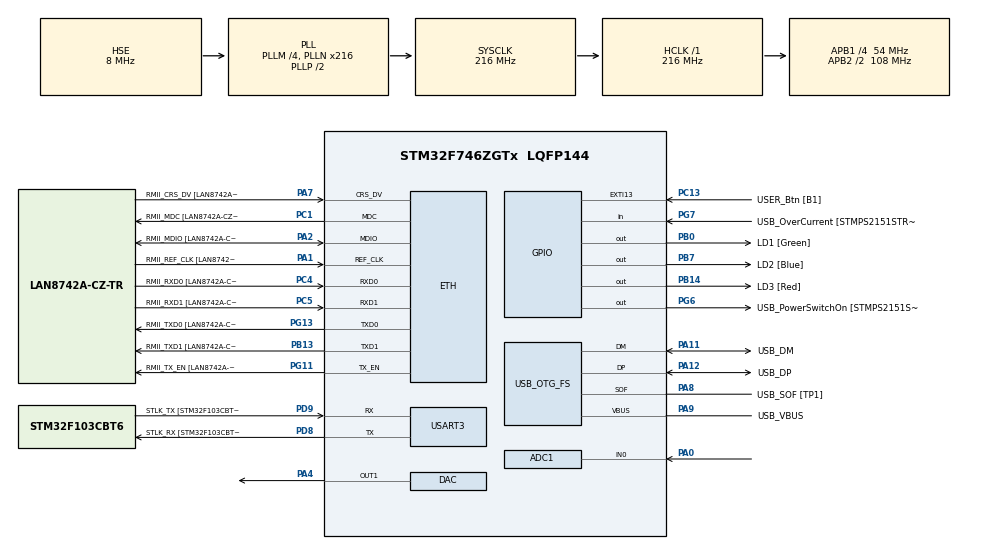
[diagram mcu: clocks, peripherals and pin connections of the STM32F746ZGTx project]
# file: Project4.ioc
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ADC1.Channel-0\#ChannelRegularConversion=ADC_CHANNEL_0
ADC1.NbrOfConversionFlag=1
ADC1.Rank-0\#ChannelRegularConversion=1
ADC1.SamplingTime-0\#ChannelRegularConversion=ADC_SAMPLETIME_3CYCLES
ADC1.master=1
ETH.MediaInterface=HAL_ETH_RMII_MODE
ETH.PHY_Name=LAN8742A_PHY_ADDRESS
ETH.PHY_Value=0
ETH.PhyAddress=0
Mcu.Family=STM32F7
Mcu.Name=STM32F746ZGTx
Mcu.Package=LQFP144
NVIC.EXTI15_10_IRQn=true\:0\:0\:false\:false\:true\:true\:true\:true
NVIC.PriorityGroup=NVIC_PRIORITYGROUP_4
NVIC.USART3_IRQn=true\:0\:0\:false\:false\:true\:true\:true\:true
PA0/WKUP.Signal=ADCx_IN0
PA1.GPIO_Label=RMII_REF_CLK [LAN8742A-CZ-TR_REFCLK0]
PA1.Mode=RMII
PA1.Signal=ETH_REF_CLK
PA10.GPIO_Label=USB_ID
PA10.Signal=USB_OTG_FS_ID
PA11.GPIO_Label=USB_DM
PA11.Mode=Device_Only
PA11.Signal=USB_OTG_FS_DM
PA12.GPIO_Label=USB_DP
PA12.Mode=Device_Only
PA12.Signal=USB_OTG_FS_DP
PA13.GPIO_Label=TMS
PA13.Mode=Serial_Wire
PA13.Signal=SYS_JTMS-SWDIO
PA14.GPIO_Label=TCK
PA14.Mode=Serial_Wire
PA14.Signal=SYS_JTCK-SWCLK
PA2.GPIO_Label=RMII_MDIO [LAN8742A-CZ-TR_MDIO]
PA2.Mode=RMII
PA2.Signal=ETH_MDIO
PA4.Signal=COMP_DAC1_group
PA7.GPIO_Label=RMII_CRS_DV [LAN8742A-CZ-TR_CRS_DV]
PA7.Mode=RMII
PA7.Signal=ETH_CRS_DV
PA8.GPIO_Label=USB_SOF [TP1]
PA8.Mode=Activate_SOF_FS
PA8.Signal=USB_OTG_FS_SOF
PA9.GPIO_Label=USB_VBUS
PA9.Mode=Activate_VBUS
PA9.Signal=USB_OTG_FS_VBUS
PB0.GPIO_Label=LD1 [Green]
PB0.Signal=GPIO_Output
PB13.GPIO_Label=RMII_TXD1 [LAN8742A-CZ-TR_TXD1]
PB13.Mode=RMII
PB13.Signal=ETH_TXD1
PB14.GPIO_Label=LD3 [Red]
PB14.Signal=GPIO_Output
PB3.GPIO_Label=SW0
PB3.Signal=SYS_JTDO-SWO
PB7.GPIO_Label=LD2 [Blue]
PB7.Signal=GPIO_Output
PC1.GPIO_Label=RMII_MDC [LAN8742A-CZ-TR_MDC]
PC1.Mode=RMII
PC1.Signal=ETH_MDC
PC13.GPIO_Label=USER_Btn [B1]
PC13.Signal=GPXTI13
PC14/OSC32_IN.Mode=LSE-External-Oscillator
PC14/OSC32_IN.Signal=RCC_OSC32_IN
PC15/OSC32_OUT.Mode=LSE-External-Oscillator
PC15/OSC32_OUT.Signal=RCC_OSC32_OUT
PC4.GPIO_Label=RMII_RXD0 [LAN8742A-CZ-TR_RXD0]
PC4.Mode=RMII
PC4.Signal=ETH_RXD0
PC5.GPIO_Label=RMII_RXD1 [LAN8742A-CZ-TR_RXD1]
PC5.Mode=RMII
PC5.Signal=ETH_RXD1
PD8.GPIO_Label=STLK_RX [STM32F103CBT6_PA3]
PD8.GPIO_PuPd=GPIO_PULLUP
PD8.Mode=Asynchronous
PD8.Signal=USART3_TX
PD9.GPIO_Label=STLK_TX [STM32F103CBT6_PA2]
PD9.GPIO_PuPd=GPIO_PULLUP
PD9.Mode=Asynchronous
PD9.Signal=USART3_RX
PG11.GPIO_Label=RMII_TX_EN [LAN8742A-CZ-TR_TXEN]
PG11.Mode=RMII
PG11.Signal=ETH_TX_EN
PG13.GPIO_Label=RMII_TXD0 [LAN8742A-CZ-TR_TXD0]
PG13.Mode=RMII
PG13.Signal=ETH_TXD0
PG6.GPIO_Label=USB_PowerSwitchOn [STMPS2151STR_EN]
PG6.Signal=GPIO_Output
PG7.GPIO_Label=USB_OverCurrent [STMPS2151STR_FAULT]
PG7.Signal=GPIO_Input
PH0/OSC_IN.GPIO_Label=MCO [STM32F103CBT6_PA8]
PH0/OSC_IN.Mode=HSE-External-Clock-Source
PH0/OSC_IN.Signal=RCC_OSC_IN
PH1/OSC_OUT.Mode=HSE-External-Clock-Source
PH1/OSC_OUT.Signal=RCC_OSC_OUT
ProjectManager.HeapSize=0x200
ProjectManager.StackSize=0x400
ProjectManager.TargetToolchain=STM32CubeIDE
RCC.48MHZClocksFreq_Value=24000000
RCC.AHBFreq_Value=216000000
RCC.APB1CLKDivider=RCC_HCLK_DIV4
RCC.APB1Freq_Value=54000000
RCC.APB1TimFreq_Value=108000000
RCC.APB2CLKDivider=RCC_HCLK_DIV2
RCC.APB2Freq_Value=108000000
RCC.APB2TimFreq_Value=216000000
RCC.CortexFreq_Value=216000000
RCC.HCLKFreq_Value=216000000
RCC.HSE_VALUE=8000000
RCC.HSI_VALUE=16000000
RCC.PLLM=4
RCC.PLLMUL=RCC_PLL_MUL9
RCC.PLLN=216
RCC.PLLQ=9
RCC.PRESCALERUSB=RCC_USBCLKSOURCE_PLL_DIV1_5
RCC.SYSCLKFreq_VALUE=216000000
RCC.SYSCLKSource=RCC_SYSCLKSOURCE_PLLCLK
RCC.SYSCLKSourceVirtual=RCC_SYSCLKSOURCE_PLLCLK
RCC.USBFreq_Value=48000000
RCC.VCOOutputFreq_Value=432000000
SH.ADCx_IN0.0=ADC1_IN0,IN0
SH.COMP_DAC1_group.0=DAC_OUT1,DAC_OUT1
USART3.VirtualMode-Asynchronous=VM_ASYNC
USB_OTG_FS.VirtualMode=Device_Only
board=NUCLEO-F746ZG

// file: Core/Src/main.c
/* USER CODE BEGIN Header */
/**
  ******************************************************************************
  * @file           : main.c
  * @brief          : Analog voltage generator and monitor on NUCLEO-F746ZG
  ******************************************************************************
  * Description:
  * This program runs on the STM32F746ZG (NUCLEO-F746ZG) development board
  * and does the following:
  *
  * ▶ CLOCK CONFIGURATION:
  * - Uses 8 MHz external oscillator (HSE) as PLL input
  * - SYSCLK is configured to 216 MHz via PLL (OverDrive enabled)
  * - APB1 clock: 54 MHz  |  APB2 clock: 108 MHz  |  USB clock: 48 MHz

  * ▶ PERIPHERAL INITIALIZATION:
  * - GPIO: Controls 3 on-board LEDs (red, blue, green) and reads user button (B1)
  * - USART3: UART communication at 115200 baud, using interrupt-based receive
  * - DAC: Outputs analog voltage on DAC channel 1 (PA4)
  * - ADC1: Samples analog voltage on channel 0 (PA0)
  * - USB_OTG_FS & Ethernet: Initialized but not used in main loop

  * ▶ PROGRAM LOGIC:
  * - Waits for UART string input (3 bytes, e.g. "1.5"), converted to float (voltage)
  * - Voltage is mapped to a 12-bit DAC value and output via DAC
  * - LED INDICATION:
  *     - Blue LED (PB7) ON during DAC update
  *     - Red LED (PB14) ON during idle
  *     - Green LED (PB0) flashes when user presses button
  * - Continuously reads analog input from ADC1
  * - Averages last 1024 readings and stores running average (`avg`)
  * - When button is pressed, transmits the averaged voltage via UART

  * ▶ INTERRUPTS:
  * - UART receive interrupt triggers on each 3-byte value
  * - External interrupt from user button (EXTI) used to transmit averaged voltage

  * ▶ NOTES:
  * - Uses non-blocking receive (`HAL_UART_Receive_IT`)
  * - DAC and ADC are polling-based
  * - Suitable for DAC testing, signal loopback, or analog control simulation
  ******************************************************************************
  */

/* USER CODE END Header */
#include "main.h"
#include "string.h"

/* USER CODE BEGIN Includes */
#include <stdlib.h>
#include "stdbool.h"
#include "stdio.h"
/* USER CODE END Includes */

#if defined ( __ICCARM__ ) /*!< IAR Compiler */
#pragma location=0x2004c000
ETH_DMADescTypeDef  DMARxDscrTab[ETH_RX_DESC_CNT]; /* Ethernet Rx DMA Descriptors */
#pragma location=0x2004c0a0
ETH_DMADescTypeDef  DMATxDscrTab[ETH_TX_DESC_CNT]; /* Ethernet Tx DMA Descriptors */

#elif defined ( __CC_ARM )  /* MDK ARM Compiler */

__attribute__((at(0x2004c000))) ETH_DMADescTypeDef  DMARxDscrTab[ETH_RX_DESC_CNT]; /* Ethernet Rx DMA Descriptors */
__attribute__((at(0x2004c0a0))) ETH_DMADescTypeDef  DMATxDscrTab[ETH_TX_DESC_CNT]; /* Ethernet Tx DMA Descriptors */

#elif defined ( __GNUC__ ) /* GNU Compiler */

ETH_DMADescTypeDef DMARxDscrTab[ETH_RX_DESC_CNT] __attribute__((section(".RxDecripSection"))); /* Ethernet Rx DMA Descriptors */
ETH_DMADescTypeDef DMATxDscrTab[ETH_TX_DESC_CNT] __attribute__((section(".TxDecripSection")));   /* Ethernet Tx DMA Descriptors */
#endif

ETH_TxPacketConfig TxConfig;

ADC_HandleTypeDef hadc1;

DAC_HandleTypeDef hdac;

ETH_HandleTypeDef heth;

UART_HandleTypeDef huart3;

PCD_HandleTypeDef hpcd_USB_OTG_FS;

void SystemClock_Config(void);
static void MX_GPIO_Init(void);
static void MX_ETH_Init(void);
static void MX_USART3_UART_Init(void);
static void MX_USB_OTG_FS_PCD_Init(void);
static void MX_ADC1_Init(void);
static void MX_DAC_Init(void);

/* USER CODE BEGIN 0 */

float value;
float avg = 0;
uint32_t var;
char tx_buff[32];
uint16_t readValue;
uint8_t rx_buff[4];
int rx_flag;
int button_flag;
float voltage;
/* USER CODE END 0 */

int main(void)
{

  /* MCU Configuration--------------------------------------------------------*/

  /* Reset of all peripherals, Initializes the Flash interface and the Systick. */
  HAL_Init();

  /* Configure the system clock */
  SystemClock_Config();

  /* Initialize all configured peripherals */
  MX_GPIO_Init();
  MX_ETH_Init();
  MX_USART3_UART_Init();
  MX_USB_OTG_FS_PCD_Init();
  MX_ADC1_Init();
  MX_DAC_Init();
  /* USER CODE BEGIN 2 */
HAL_DAC_Start(&hdac, DAC_CHANNEL_1);

 float tot = 0;
 short i = 0;
 float tot_arr[1024];
 static bool buffer_full = false;

   HAL_UART_Receive_IT(&huart3, rx_buff, 3);
  /* USER CODE END 2 */

  /* Infinite loop */
  while (1)
  {

    /* USER CODE BEGIN 3 */

	  /*Wait for Receive Interrupt*/
if(rx_flag){
	  var = 4095.0f - (value / 3.3f) * 4095.0f;
	 			  HAL_GPIO_WritePin(GPIOB, GPIO_PIN_14, GPIO_PIN_RESET);//red OFF
	 			  HAL_GPIO_WritePin(GPIOB, GPIO_PIN_7, GPIO_PIN_SET); //blue ON
	 			  HAL_DAC_SetValue(&hdac, DAC_CHANNEL_1,DAC_ALIGN_12B_R,var);
	 		      HAL_Delay(100);

	 		      HAL_GPIO_WritePin(GPIOB, GPIO_PIN_14, GPIO_PIN_SET);//red ON
	 		      HAL_GPIO_WritePin(GPIOB, GPIO_PIN_7, GPIO_PIN_RESET); //blue OFF
	 		      rx_flag=0;
					}

/*Take VOLTAGE*/
	 		  	HAL_ADC_Start(&hadc1);
	 		  	HAL_ADC_PollForConversion(&hadc1, HAL_MAX_DELAY);

	 		  	readValue = HAL_ADC_GetValue(&hadc1);
	 		  	voltage = (readValue * 3.30) / 4096.00;

	 		   if (buffer_full) {
	 		  	  	 	 	tot -= tot_arr[i];
	 		  	  	 	 	 }

	 		  	  	 	 tot_arr[i] = voltage;
	 		  	  	 	 tot += voltage;

	 		  	  	 	 i++;
	 		  	  	 	 if (i >= 1024) {
	 		  	  	 	 	 i = 0;
	 		  	  	 	 	 buffer_full = true;
	 		  	  	 	 }

	 		  	  	 	 avg = tot / (buffer_full ? 1024.00 : (float)i);

/*GREEN ON WHEN BUTTON 1 PRESSED*/
  if(button_flag){

	  HAL_GPIO_WritePin(GPIOB, GPIO_PIN_0, GPIO_PIN_SET);
	  HAL_Delay(100);
	  HAL_GPIO_WritePin(GPIOB, GPIO_PIN_0, GPIO_PIN_RESET);
	  button_flag=0;

  }

  }

  /* USER CODE END 3 */
}

void SystemClock_Config(void)
{
  RCC_OscInitTypeDef RCC_OscInitStruct = {0};
  RCC_ClkInitTypeDef RCC_ClkInitStruct = {0};

  /** Configure LSE Drive Capability
  */
  HAL_PWR_EnableBkUpAccess();

  /** Configure the main internal regulator output voltage
  */
  __HAL_RCC_PWR_CLK_ENABLE();
  __HAL_PWR_VOLTAGESCALING_CONFIG(PWR_REGULATOR_VOLTAGE_SCALE1);

  /** Initializes the RCC Oscillators according to the specified parameters
  * in the RCC_OscInitTypeDef structure.
  */
  RCC_OscInitStruct.OscillatorType = RCC_OSCILLATORTYPE_HSE;
  RCC_OscInitStruct.HSEState = RCC_HSE_BYPASS;
  RCC_OscInitStruct.PLL.PLLState = RCC_PLL_ON;
  RCC_OscInitStruct.PLL.PLLSource = RCC_PLLSOURCE_HSE;
  RCC_OscInitStruct.PLL.PLLM = 4;
  RCC_OscInitStruct.PLL.PLLN = 216;
  RCC_OscInitStruct.PLL.PLLP = RCC_PLLP_DIV2;
  RCC_OscInitStruct.PLL.PLLQ = 9;
  if (HAL_RCC_OscConfig(&RCC_OscInitStruct) != HAL_OK)
  {
    Error_Handler();
  }

  /** Activate the Over-Drive mode
  */
  if (HAL_PWREx_EnableOverDrive() != HAL_OK)
  {
    Error_Handler();
  }

  /** Initializes the CPU, AHB and APB buses clocks
  */
  RCC_ClkInitStruct.ClockType = RCC_CLOCKTYPE_HCLK|RCC_CLOCKTYPE_SYSCLK
                              |RCC_CLOCKTYPE_PCLK1|RCC_CLOCKTYPE_PCLK2;
  RCC_ClkInitStruct.SYSCLKSource = RCC_SYSCLKSOURCE_PLLCLK;
  RCC_ClkInitStruct.AHBCLKDivider = RCC_SYSCLK_DIV1;
  RCC_ClkInitStruct.APB1CLKDivider = RCC_HCLK_DIV4;
  RCC_ClkInitStruct.APB2CLKDivider = RCC_HCLK_DIV2;

  if (HAL_RCC_ClockConfig(&RCC_ClkInitStruct, FLASH_LATENCY_7) != HAL_OK)
  {
    Error_Handler();
  }
}

static void MX_ADC1_Init(void)
{

  ADC_ChannelConfTypeDef sConfig = {0};

  /** Configure the global features of the ADC (Clock, Resolution, Data Alignment and number of conversion)
  */
  hadc1.Instance = ADC1;
  hadc1.Init.ClockPrescaler = ADC_CLOCK_SYNC_PCLK_DIV4;
  hadc1.Init.Resolution = ADC_RESOLUTION_12B;
  hadc1.Init.ScanConvMode = ADC_SCAN_DISABLE;
  hadc1.Init.ContinuousConvMode = DISABLE;
  hadc1.Init.DiscontinuousConvMode = DISABLE;
  hadc1.Init.ExternalTrigConvEdge = ADC_EXTERNALTRIGCONVEDGE_NONE;
  hadc1.Init.ExternalTrigConv = ADC_SOFTWARE_START;
  hadc1.Init.DataAlign = ADC_DATAALIGN_RIGHT;
  hadc1.Init.NbrOfConversion = 1;
  hadc1.Init.DMAContinuousRequests = DISABLE;
  hadc1.Init.EOCSelection = ADC_EOC_SINGLE_CONV;
  if (HAL_ADC_Init(&hadc1) != HAL_OK)
  {
    Error_Handler();
  }

  /** Configure for the selected ADC regular channel its corresponding rank in the sequencer and its sample time.
  */
  sConfig.Channel = ADC_CHANNEL_0;
  sConfig.Rank = ADC_REGULAR_RANK_1;
  sConfig.SamplingTime = ADC_SAMPLETIME_3CYCLES;
  if (HAL_ADC_ConfigChannel(&hadc1, &sConfig) != HAL_OK)
  {
    Error_Handler();
  }

}

static void MX_DAC_Init(void)
{

  DAC_ChannelConfTypeDef sConfig = {0};

  /** DAC Initialization
  */
  hdac.Instance = DAC;
  if (HAL_DAC_Init(&hdac) != HAL_OK)
  {
    Error_Handler();
  }

  /** DAC channel OUT1 config
  */
  sConfig.DAC_Trigger = DAC_TRIGGER_NONE;
  sConfig.DAC_OutputBuffer = DAC_OUTPUTBUFFER_ENABLE;
  if (HAL_DAC_ConfigChannel(&hdac, &sConfig, DAC_CHANNEL_1) != HAL_OK)
  {
    Error_Handler();
  }

}

static void MX_ETH_Init(void)
{

   static uint8_t MACAddr[6];

  heth.Instance = ETH;
  MACAddr[0] = 0x00;
  MACAddr[1] = 0x80;
  MACAddr[2] = 0xE1;
  MACAddr[3] = 0x00;
  MACAddr[4] = 0x00;
  MACAddr[5] = 0x00;
  heth.Init.MACAddr = &MACAddr[0];
  heth.Init.MediaInterface = HAL_ETH_RMII_MODE;
  heth.Init.TxDesc = DMATxDscrTab;
  heth.Init.RxDesc = DMARxDscrTab;
  heth.Init.RxBuffLen = 1524;

  if (HAL_ETH_Init(&heth) != HAL_OK)
  {
    Error_Handler();
  }

  memset(&TxConfig, 0 , sizeof(ETH_TxPacketConfig));
  TxConfig.Attributes = ETH_TX_PACKETS_FEATURES_CSUM | ETH_TX_PACKETS_FEATURES_CRCPAD;
  TxConfig.ChecksumCtrl = ETH_CHECKSUM_IPHDR_PAYLOAD_INSERT_PHDR_CALC;
  TxConfig.CRCPadCtrl = ETH_CRC_PAD_INSERT;

}

static void MX_USART3_UART_Init(void)
{

  huart3.Instance = USART3;
  huart3.Init.BaudRate = 115200;
  huart3.Init.WordLength = UART_WORDLENGTH_8B;
  huart3.Init.StopBits = UART_STOPBITS_1;
  huart3.Init.Parity = UART_PARITY_NONE;
  huart3.Init.Mode = UART_MODE_TX_RX;
  huart3.Init.HwFlowCtl = UART_HWCONTROL_NONE;
  huart3.Init.OverSampling = UART_OVERSAMPLING_16;
  huart3.Init.OneBitSampling = UART_ONE_BIT_SAMPLE_DISABLE;
  huart3.AdvancedInit.AdvFeatureInit = UART_ADVFEATURE_NO_INIT;
  if (HAL_UART_Init(&huart3) != HAL_OK)
  {
    Error_Handler();
  }

}

static void MX_USB_OTG_FS_PCD_Init(void)
{

  hpcd_USB_OTG_FS.Instance = USB_OTG_FS;
  hpcd_USB_OTG_FS.Init.dev_endpoints = 6;
  hpcd_USB_OTG_FS.Init.speed = PCD_SPEED_FULL;
  hpcd_USB_OTG_FS.Init.dma_enable = DISABLE;
  hpcd_USB_OTG_FS.Init.phy_itface = PCD_PHY_EMBEDDED;
  hpcd_USB_OTG_FS.Init.Sof_enable = ENABLE;
  hpcd_USB_OTG_FS.Init.low_power_enable = DISABLE;
  hpcd_USB_OTG_FS.Init.lpm_enable = DISABLE;
  hpcd_USB_OTG_FS.Init.vbus_sensing_enable = ENABLE;
  hpcd_USB_OTG_FS.Init.use_dedicated_ep1 = DISABLE;
  if (HAL_PCD_Init(&hpcd_USB_OTG_FS) != HAL_OK)
  {
    Error_Handler();
  }

}

static void MX_GPIO_Init(void)
{
  GPIO_InitTypeDef GPIO_InitStruct = {0};

  /* GPIO Ports Clock Enable */
  __HAL_RCC_GPIOC_CLK_ENABLE();
  __HAL_RCC_GPIOH_CLK_ENABLE();
  __HAL_RCC_GPIOA_CLK_ENABLE();
  __HAL_RCC_GPIOB_CLK_ENABLE();
  __HAL_RCC_GPIOD_CLK_ENABLE();
  __HAL_RCC_GPIOG_CLK_ENABLE();

  /*Configure GPIO pin Output Level */
  HAL_GPIO_WritePin(GPIOB, LD1_Pin|LD3_Pin|LD2_Pin, GPIO_PIN_RESET);

  /*Configure GPIO pin Output Level */
  HAL_GPIO_WritePin(USB_PowerSwitchOn_GPIO_Port, USB_PowerSwitchOn_Pin, GPIO_PIN_RESET);

  /*Configure GPIO pin : USER_Btn_Pin */
  GPIO_InitStruct.Pin = USER_Btn_Pin;
  GPIO_InitStruct.Mode = GPIO_MODE_IT_RISING;
  GPIO_InitStruct.Pull = GPIO_NOPULL;
  HAL_GPIO_Init(USER_Btn_GPIO_Port, &GPIO_InitStruct);

  /*Configure GPIO pins : LD1_Pin LD3_Pin LD2_Pin */
  GPIO_InitStruct.Pin = LD1_Pin|LD3_Pin|LD2_Pin;
  GPIO_InitStruct.Mode = GPIO_MODE_OUTPUT_PP;
  GPIO_InitStruct.Pull = GPIO_NOPULL;
  GPIO_InitStruct.Speed = GPIO_SPEED_FREQ_LOW;
  HAL_GPIO_Init(GPIOB, &GPIO_InitStruct);

  /*Configure GPIO pin : USB_PowerSwitchOn_Pin */
  GPIO_InitStruct.Pin = USB_PowerSwitchOn_Pin;
  GPIO_InitStruct.Mode = GPIO_MODE_OUTPUT_PP;
  GPIO_InitStruct.Pull = GPIO_NOPULL;
  GPIO_InitStruct.Speed = GPIO_SPEED_FREQ_LOW;
  HAL_GPIO_Init(USB_PowerSwitchOn_GPIO_Port, &GPIO_InitStruct);

  /*Configure GPIO pin : USB_OverCurrent_Pin */
  GPIO_InitStruct.Pin = USB_OverCurrent_Pin;
  GPIO_InitStruct.Mode = GPIO_MODE_INPUT;
  GPIO_InitStruct.Pull = GPIO_NOPULL;
  HAL_GPIO_Init(USB_OverCurrent_GPIO_Port, &GPIO_InitStruct);

  /* EXTI interrupt init*/
  HAL_NVIC_SetPriority(EXTI15_10_IRQn, 0, 0);
  HAL_NVIC_EnableIRQ(EXTI15_10_IRQn);

}

/* USER CODE BEGIN 4 */

//uint8_t rx_buff[4];
float value = 0.0f;

void HAL_UART_RxCpltCallback(UART_HandleTypeDef *huart) {
	if (huart->Instance == USART3) {
	        rx_flag=1;
	        value = atof((char*)rx_buff);
	        memset(rx_buff, 0, 4);
	        HAL_UART_Receive_IT(&huart3, rx_buff, 3);
	    }
}

void HAL_GPIO_EXTI_Callback(uint16_t GPIO_Pin){
	if(GPIO_Pin == USER_Btn_Pin){
			button_flag=1;
			sprintf(tx_buff,"\n Voltage: %.3f V\r\n", avg);
			HAL_UART_Transmit(&huart3, (uint8_t*)tx_buff,strlen(tx_buff), HAL_MAX_DELAY);
	 }
}

/* USER CODE END 4 */

void Error_Handler(void)
{
  __disable_irq();
  while (1)
  {
  }
}
